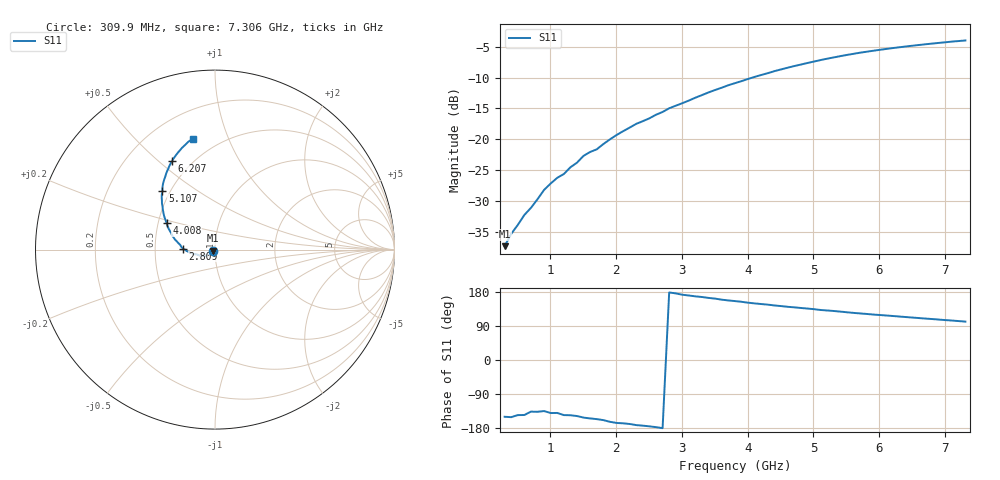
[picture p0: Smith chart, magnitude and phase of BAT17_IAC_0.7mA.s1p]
! Infineon Technologies  Discrete & RF Semiconductors
! BAT17
! IAC = 0.7 mA
! One-Port S-Parameters
# Hz  S  MA  R  50
!f  S11
!Hz  Mag  Ang
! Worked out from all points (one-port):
!   71 points, 309.9 MHz to 7.306 GHz, reference 50 ohm
!   lowest |S11| = -37.3 dB at 309.9 MHz (marker M1), VSWR 1.03, Z = 48.8 - j0.67 ohm
!   |S11| at or under -10 dB: start of sweep to 4.076 GHz
!   S11 on the Smith chart (normalised r, x): 309.9 MHz: 0.98, -0.01; 2.809 GHz: 0.70, +0.01; 4.008 GHz: 0.55, +0.18; 5.107 GHz: 0.45, +0.37; 6.207 GHz: 0.39, +0.55; 7.306 GHz: 0.37, +0.75
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3.0985e8  0.01365 -149.8
4.098e8  0.01716 -150.8
6.097e8  0.02442 -145.2
7.0965e8  0.02788 -136.3
9.0955e8  0.03898 -134.7
1.10945e9  0.04881 -139.7
1.2094e9  0.05237 -145.4
1.30935e9  0.05938 -145.7
1.4093e9  0.06476 -147.9
1.50925e9  0.07353 -152.0
1.6092e9  0.07901 -154.2
1.70915e9  0.08295 -156.0
1.90905e9  0.09984 -163.1
2.10895e9  0.1163 -167.0
2.30885e9  0.1334 -171.8
2.50875e9  0.1479 -175.1
2.8086e9  0.1783 178.1
3.0085e9  0.196 172.2
3.30835e9  0.2282 166.2
3.8081e9  0.2848 155.5
4.008e9  0.3082 151.2
4.70765e9  0.3915 139.0
5.10745e9  0.4379 132.0
5.30735e9  0.4601 129.3
5.6072e9  0.4918 124.3
6.2069e9  0.5476 116.1
6.50675e9  0.5725 111.9
7.30635e9  0.6309 101.3
